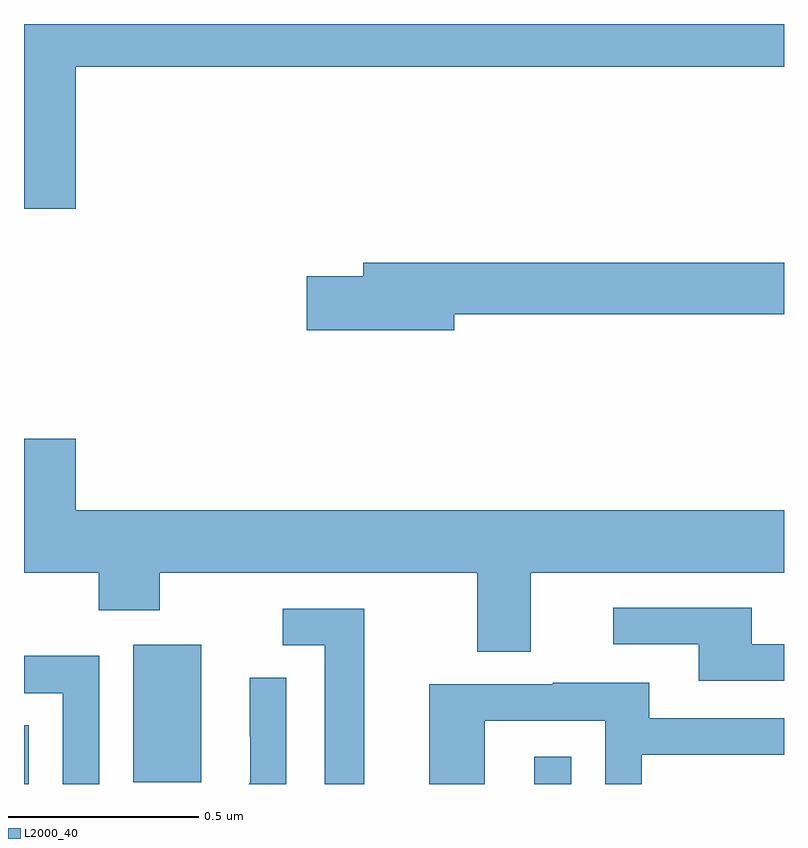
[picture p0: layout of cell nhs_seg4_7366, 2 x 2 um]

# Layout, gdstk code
import gdstk
lib = gdstk.Library(unit=1e-6, precision=1e-09)
def R(c, l, rs):  # rectangles x0, y0, x1, y1
    for r in rs: c.add(gdstk.rectangle(r[:2], r[2:], *l))
def P(c, l, *ps):  # polygons
    for p in ps: c.add(gdstk.Polygon(p, *l))
L2000_40 = (2000, 40)

nhs_seg4_7366 = lib.new_cell('nhs_seg4_7366')
R(nhs_seg4_7366, L2000_40, [(201,826.9,201.013,827.054), (202.343,826.9,202.44,826.972), (201.287,826.905,201.466,827.266)])
P(nhs_seg4_7366, L2000_40, [(201.136,828.788),(203,828.788),(203,828.9),(201,828.9),(201,828.414),(201.136,828.414)],
  [(202.132,828.136),(203,828.136),(203,828.272),(201.893,828.272),(201.893,828.236),(201.744,828.236),(201.744,828.094),(202.132,828.094)],
  [(202.333,827.456),(203,827.456),(203,827.62),(201.136,827.62),(201.136,827.809),(201,827.809),(201,827.456),(201.197,827.456),(201.197,827.357),(201.357,827.357),(201.357,827.456),(202.193,827.456),(202.193,827.248),(202.333,827.248)],
  [(203,827.268),(202.915,827.268),(202.915,827.364),(202.551,827.364),(202.551,827.268),(202.775,827.268),(202.775,827.172),(203,827.172)],
  [(201.895,827.361),(201.681,827.361),(201.681,827.265),(201.791,827.265),(201.791,826.9),(201.895,826.9)],
  [(201.198,827.238),(201,827.238),(201,827.139),(201.102,827.139),(201.102,826.9),(201.198,826.9)],
  [(201.69,827.18),(201.594,827.18),(201.594,827.026),(201.596,827.026),(201.596,826.904),(201.592,826.9),(201.69,826.9)],
  [(202.212,827.067),(202.53,827.067),(202.53,826.9),(202.626,826.9),(202.626,826.977),(203,826.977),(203,827.073),(202.645,827.073),(202.645,827.167),(202.391,827.167),(202.391,827.163),(202.067,827.163),(202.067,826.9),(202.212,826.9)])

lib.write_gds('nhs_seg4_7366.gds')
